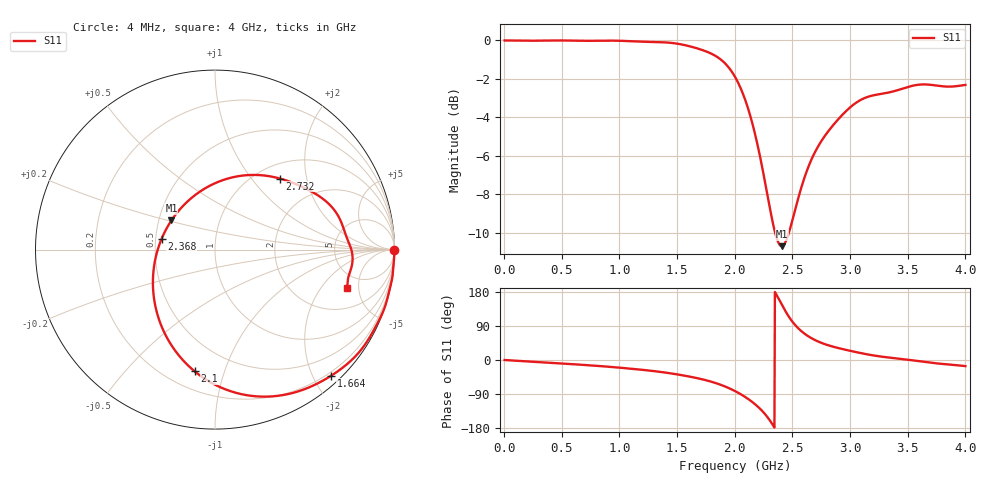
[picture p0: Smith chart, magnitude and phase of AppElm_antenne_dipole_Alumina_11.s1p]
! TOUCHSTONE file generated by CST MICROWAVE STUDIO
! Date and time: Sat May 14 10:20:48 2022
! Project name: AppElm_antenne_dipole_Alumina.cst
! Parameters = {L=33; e=0.035; f=2.45e+09; h=1.6; i=0.8; l1=2.5; lambda=122.449; ls=30; wl=1.7; ws=80}
! Header version: 2018
! Port assignment regex: !\s*Touchstone port\s*([0-9]+)\s*=\s*(CST MWS port|CST DS port)\s*([0-9]+|Zmin|Zmax)\s*\(\"(.*)\"\)(\s*mode\s*([0-9]+))?.*
! Touchstone port assignment:
! Touchstone port 1 = CST MWS port 1 ("")
# GHz S MA R 50
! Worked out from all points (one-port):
!   1000 points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, 4 MHz to 4 GHz, reference 50 ohm
!   lowest |S11| = -10.7 dB at 2.408 GHz (marker M1), VSWR 1.83, Z = 29.1 + j10.4 ohm
!   |S11| at or under -10 dB: 2.35 GHz to 2.469 GHz (118.5 MHz wide, 4.92 % of centre)
!   S11 on the Smith chart (normalised r, x): 4 MHz: open; 1.664 GHz: 0.14, -2.28; 2.1 GHz: 0.31, -0.80; 2.368 GHz: 0.54, +0.07; 2.732 GHz: 1.26, +1.40; 4 GHz: 3.59, -3.71
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0.004  1 -0.1
0.504  0.9999 -9.2
1.004  0.9981 -20.3
1.312  0.9907 -29.7
1.504  0.9806 -38.1
1.664  0.9557 -47.2
1.76  0.9343 -54.2
1.84  0.9091 -61.4
1.928  0.8642 -71.4
2.004  0.8026 -82.3
2.052  0.7503 -90.3
2.1  0.6877 -99.5
2.176  0.5709 -116.7
2.24  0.4647 -135.1
2.304  0.3674 -159.3
2.368  0.3036 168.7
2.408  0.2921 146.1
2.448  0.3033 124.5
2.504  0.345 99.5
2.552  0.3906 83.3
2.604  0.4397 69.7
2.732  0.5364 47.6
2.848  0.5998 35.5
3.004  0.6715 24.0
3.176  0.717 13.4
3.504  0.7575 0.6
3.724  0.7653 -8.1
4  0.7664 -16.1
